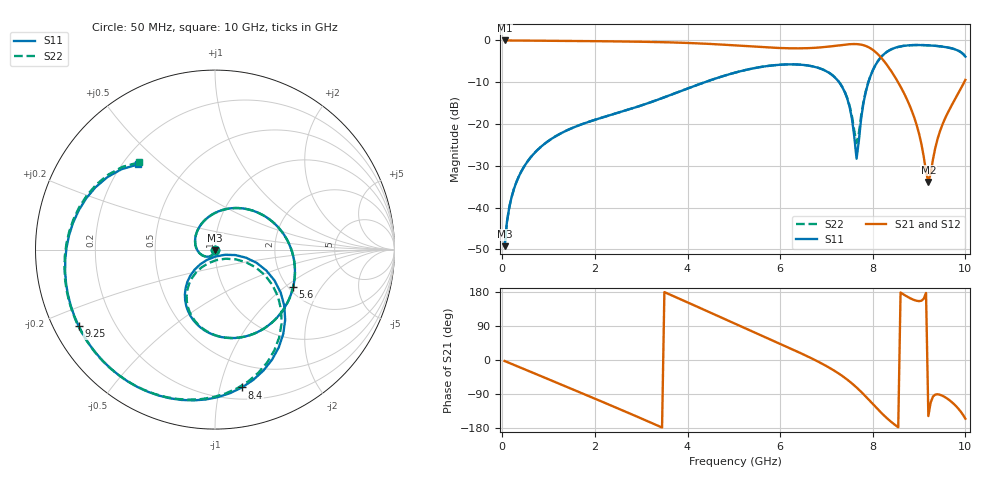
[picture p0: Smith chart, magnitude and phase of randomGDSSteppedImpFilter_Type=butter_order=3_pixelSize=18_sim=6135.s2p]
! freq	dB(S11)	phase(S11)	dB(S12)	phase(S12)
!  dB(S21)	phase(S21)	dB(S22)	phase(S22)
!S-par simulation data
#  GHz  S  DB  R 50
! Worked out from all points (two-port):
!   200 points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, 50 MHz to 10 GHz, reference 50 ohm
!   highest |S21| = -0.01 dB at 50 MHz (marker M1); lowest = -33.8 dB at 9.2 GHz (marker M2)
!   |S21| within 3 dB of the highest: start of sweep to 8.082 GHz
!   lowest |S11| = -49.2 dB at 50 MHz (marker M3), VSWR 1.01, Z = 50 - j0.344 ohm
!   |S11| at or under -10 dB: start of sweep to 4.372 GHz; 7.272 GHz to 7.906 GHz (634.6 MHz wide, 8.36 % of centre)
!   |S22| runs from -49.2 to -1.1 dB; largest |S21 - S12| = 0
!   S11 on the Smith chart (normalised r, x): 50 MHz: 1.00, -0.01; 5.6 GHz: 2.12, -1.15; 8.4 GHz: 0.30, -1.17; 9.25 GHz: 0.07, -0.26; 10 GHz: 0.26, +0.42
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0.05  -49.24 -85.4  -0.01 -2.6  -0.01 -2.6  -49.24 -85.3
0.2  -37.52 -98.6  -0.02 -10.3  -0.02 -10.3  -37.52 -98.6
0.5  -29.68 -115.6  -0.04 -25.5  -0.04 -25.5  -29.68 -115.6
1.75  -19.93 179.3  -0.15 -89.2  -0.15 -89.2  -19.92 179.2
2.5  -17.32 140.4  -0.24 -127.9  -0.24 -127.9  -17.31 140.2
3.4  -14.01 92.9  -0.40 -175.5  -0.40 -175.5  -14.01 92.7
4.35  -10.09 41.7  -0.76 132.9  -0.76 132.9  -10.08 41.6
5.05  -7.63 3.9  -1.20 94.4  -1.20 94.4  -7.63 3.8
5.6  -6.33 -25.6  -1.59 64.4  -1.59 64.4  -6.32 -25.6
6.7  -6.21 -85.5  -1.80 3.1  -1.80 3.1  -6.20 -84.9
7.4  -12.49 -130.5  -1.01 -47.2  -1.01 -47.2  -12.38 -127.0
7.55  -18.70 -135.1  -0.87 -61.7  -0.87 -61.7  -18.15 -127.1
7.65  -28.30 -84.8  -0.88 -72.5  -0.88 -72.5  -24.56 -81.6
7.9  -10.20 -22.2  -1.57 -103.1  -1.57 -103.1  -10.10 -27.1
8.1  -5.14 -45.0  -3.19 -129.0  -3.19 -129.0  -5.11 -48.1
8.35  -2.42 -73.7  -6.54 -158.3  -6.54 -158.3  -2.41 -75.9
8.4  -2.13 -78.9  -7.36 -163.5  -7.36 -163.5  -2.12 -81.1
8.9  -1.10 -123.3  -18.59 158.0  -18.59 158.0  -1.10 -125.0
9.2  -1.17 -146.9  -33.84 -148.0  -33.84 -148.0  -1.16 -148.5
9.25  -1.20 -150.8  -31.83 -112.3  -31.83 -112.3  -1.20 -152.4
9.65  -1.76 174.4  -16.65 -105.5  -16.65 -105.5  -1.74 172.9
10  -3.88 132.1  -9.44 -154.9  -9.44 -154.9  -3.81 131.1
